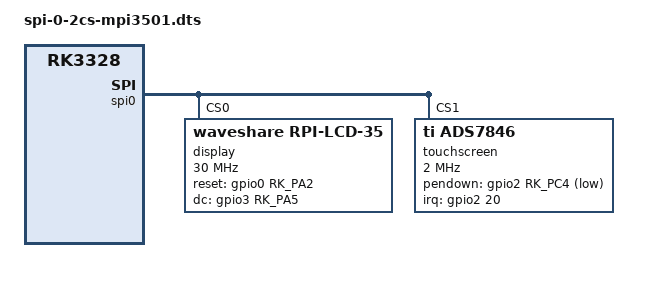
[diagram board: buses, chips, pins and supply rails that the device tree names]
// SPDX-License-Identifier: (GPL-2.0-or-later OR MIT)
/*
 * Copyright (c) 2024 Da Xue
 * Author: Da Xue <da@libre.computer>
 */
/*
 * Summary: ILI9486 based 3.5" touchscreen on 40P header J1 with tuning for MPI3501
 *
 * Pins (Header.Pin  Name  Pad  Ref — cross-ref gpio.map):
 *   ?.?    RK_PA2        ?       (not in gpio.map)
 *   ?.?    RK_PA5        ?       (not in gpio.map)
 *   ?.?    RK_PC4        ?       (not in gpio.map)
 *
 * Requires: spi-0-2cs
 *
 * Notes:
 * Display stack: tinydrm (DRM tiny / panel) preferred; staging fbtft is the
 * legacy fallback when both are built. Compatible order is tinydrm-first.
 * Properties tagged "fbtft/legacy" are ignored by tinydrm (CONFIG_FB_TFT_* only).
 *  ?.?    RK_PA2        ?       (not in gpio.map)
 *  ?.?    RK_PA5        ?       (not in gpio.map)
 *  ?.?    RK_PC4        ?       (not in gpio.map)
 * ?.?    RK_PA2        ?       (not in gpio.map)
 * ?.?    RK_PA5        ?       (not in gpio.map)
 * ?.?    RK_PC4        ?       (not in gpio.map)
 * Requires spi0-cs1 overlay
 */
/dts-v1/;
/plugin/;

#include <dt-bindings/gpio/gpio.h>
#include <dt-bindings/pinctrl/rockchip.h>
#include <dt-bindings/interrupt-controller/irq.h>
/*
 * 11 TPIRQ GPIO2_C4
 * 18 I/D R GPIO3_A5 
 * 22 Reset GPIO0_A2
 */

/ {
	compatible = "libre-computer,roc-rk3328-cc",
		"libretech,roc-rk3328-cc",
		"libre-computer,roc-rk3328-cc-v2",
		"libretech,roc-rk3328-cc-v2",
		"firefly,roc-rk3328-cc",
		"rockchip,rk3328";

	fragment@0 {
		target = <&spi0>;
		
		__overlay__ {

			display@0 {
				compatible = "waveshare,rpi-lcd-35",	/* tinydrm: drm/tiny/ili9486 */
					"ilitek,ili9486";	/* fbtft/legacy: staging/fbtft/fb_ili9486 */
				reg = <0>;
				spi-max-frequency = <30000000>;
				reset-gpios = <&gpio0 RK_PA2 GPIO_ACTIVE_HIGH>;
				dc-gpios = <&gpio3 RK_PA5 GPIO_ACTIVE_HIGH>;
				status = "okay";
			};

			touchscreen@1 {
				compatible = "ti,ads7846";
				pinctrl-names = "default";
				pinctrl-0 = <&i2s1_sdio1>;
				reg = <1>;
				spi-max-frequency = <2000000>;
				interrupt-parent = <&gpio2>;
				interrupts = <20 IRQ_TYPE_EDGE_FALLING>;
				pendown-gpio = <&gpio2 RK_PC4 GPIO_ACTIVE_LOW>;
				ti,x-plate-ohms = /bits/ 16 <60>;
				ti,pressure-max = /bits/ 16 <255>;
                                touchscreen-swapped-x-y;
                                touchscreen-inverted-x;
                                touchscreen-min-x = <300>;
                                touchscreen-size-x = <3850>;
                                touchscreen-min-y = <240>;
                                touchscreen-size-y = <3900>;
				wakeup-source;
				status = "okay";
			};
		};
	};
};
